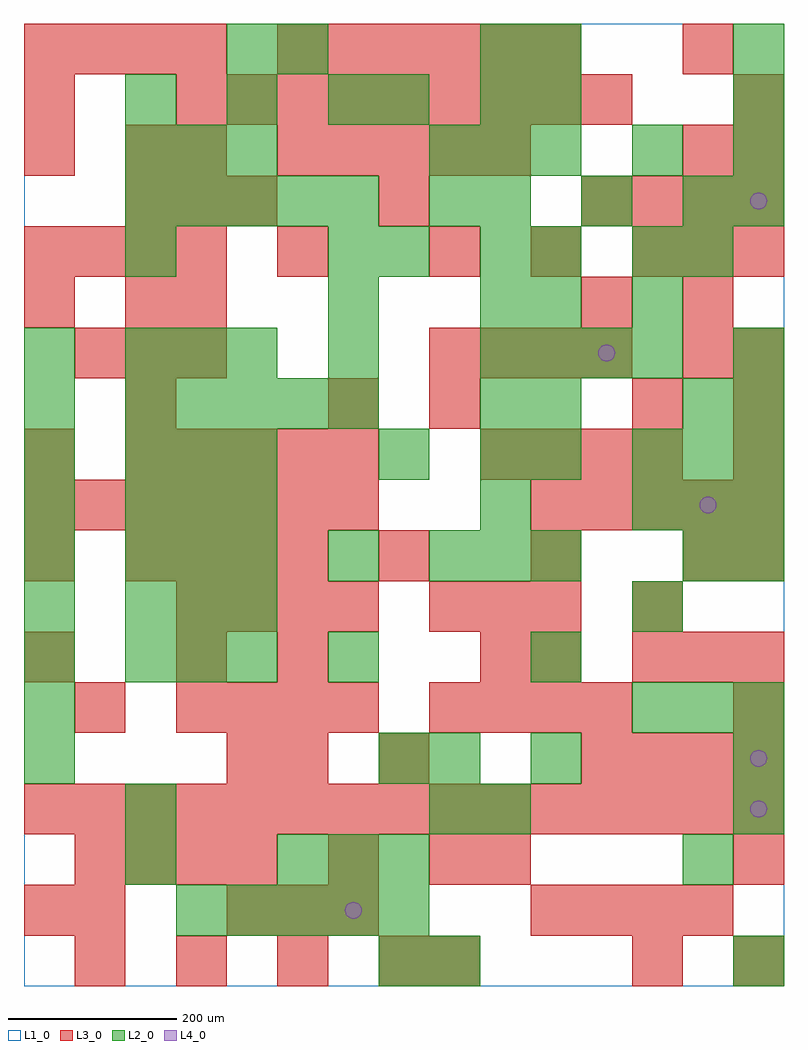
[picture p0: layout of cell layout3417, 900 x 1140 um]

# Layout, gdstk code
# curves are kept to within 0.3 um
import gdstk
lib = gdstk.Library(unit=1e-6, precision=1e-09)
def R(c, l, rs):  # rectangles x0, y0, x1, y1
    for r in rs: c.add(gdstk.rectangle(r[:2], r[2:], *l))
def A(c, l, x, y, w, h, nx, ny, dx, dy):  # array of equal rectangles
    R(c, l, [(x+i*dx, y+j*dy, x+i*dx+w, y+j*dy+h) for i in range(nx) for j in range(ny)])
def P(c, l, *ps):  # polygons
    for p in ps: c.add(gdstk.Polygon(p, *l))
L1_0 = (1, 0)
L2_0 = (2, 0)
L3_0 = (3, 0)
L4_0 = (4, 0)

layout3417 = lib.new_cell('layout3417')
R(layout3417, L1_0, [(0,0,900,1140)])
A(layout3417, L2_0, 180, 60, 60, 60, 5, 1, 60, 0)
A(layout3417, L2_0, 300, 120, 60, 60, 3, 1, 60, 0)
A(layout3417, L2_0, 0, 240, 60, 60, 1, 9, 0, 60)
A(layout3417, L2_0, 720, 300, 60, 60, 3, 2, 60, 240)
A(layout3417, L2_0, 120, 360, 60, 60, 3, 5, 60, 60)
A(layout3417, L2_0, 480, 480, 60, 60, 3, 2, 60, 480)
A(layout3417, L2_0, 780, 480, 60, 60, 1, 3, 0, 180)
A(layout3417, L2_0, 540, 540, 60, 60, 1, 3, 0, 60)
A(layout3417, L2_0, 720, 600, 60, 60, 3, 1, 60, 0)
A(layout3417, L2_0, 120, 660, 60, 60, 5, 2, 60, 240)
A(layout3417, L2_0, 120, 720, 60, 60, 3, 2, 60, 240)
A(layout3417, L2_0, 360, 720, 60, 60, 1, 3, 0, 60)
A(layout3417, L2_0, 540, 720, 60, 60, 4, 1, 60, 0)
A(layout3417, L2_0, 540, 900, 60, 60, 3, 1, 120, 0)
A(layout3417, L2_0, 840, 900, 60, 60, 1, 4, 0, 60)
A(layout3417, L2_0, 120, 1020, 60, 60, 3, 1, 120, 0)
R(layout3417, L2_0, [(420,0,480,60), (480,0,540,60), (840,0,900,60), (120,120,180,180), (780,120,840,180), (120,180,180,240), (480,180,540,240), (540,180,600,240), (840,180,900,240), (420,240,480,300), (480,240,540,300), (600,240,660,300), (840,240,900,300), (360,360,420,420), (600,360,660,420), (720,420,780,480), (360,480,420,540), (840,480,900,540), (420,600,480,660), (600,600,660,660), (600,660,660,720), (840,660,900,720), (840,720,900,780), (540,780,600,840), (600,780,660,840), (720,780,780,840), (120,840,180,900), (420,840,480,900), (540,840,600,900), (600,840,660,900), (720,840,780,900), (480,900,540,960), (720,960,780,1020), (420,1020,480,1080), (540,1020,600,1080), (600,1020,660,1080), (240,1080,300,1140), (300,1080,360,1140), (540,1080,600,1140), (600,1080,660,1140)])
A(layout3417, L3_0, 60, 0, 60, 60, 4, 1, 120, 0)
A(layout3417, L3_0, 240, 60, 60, 60, 3, 1, 60, 0)
A(layout3417, L3_0, 600, 60, 60, 60, 4, 1, 60, 0)
A(layout3417, L3_0, 60, 120, 60, 60, 4, 1, 60, 0)
A(layout3417, L3_0, 840, 120, 60, 60, 1, 3, 0, 180)
A(layout3417, L3_0, 0, 180, 60, 60, 15, 1, 60, 0)
A(layout3417, L3_0, 660, 240, 60, 60, 4, 2, 60, 660)
A(layout3417, L3_0, 180, 300, 60, 60, 4, 2, 60, 120)
A(layout3417, L3_0, 480, 300, 60, 60, 4, 2, 60, 420)
A(layout3417, L3_0, 0, 360, 60, 60, 1, 3, 0, 120)
A(layout3417, L3_0, 720, 360, 60, 60, 3, 1, 60, 0)
A(layout3417, L3_0, 480, 420, 60, 60, 3, 1, 60, 0)
A(layout3417, L3_0, 120, 480, 60, 60, 4, 1, 60, 0)
A(layout3417, L3_0, 420, 480, 60, 60, 3, 1, 180, 0)
A(layout3417, L3_0, 0, 540, 60, 60, 7, 1, 60, 0)
A(layout3417, L3_0, 600, 540, 60, 60, 5, 1, 60, 0)
A(layout3417, L3_0, 120, 600, 60, 60, 5, 1, 60, 0)
A(layout3417, L3_0, 540, 600, 60, 60, 4, 1, 60, 0)
A(layout3417, L3_0, 840, 600, 60, 60, 1, 3, 0, 60)
A(layout3417, L3_0, 60, 720, 60, 60, 3, 1, 60, 0)
A(layout3417, L3_0, 780, 720, 60, 60, 1, 3, 0, 60)
A(layout3417, L3_0, 0, 840, 60, 60, 4, 2, 60, 240)
A(layout3417, L3_0, 480, 840, 60, 60, 3, 1, 120, 0)
A(layout3417, L3_0, 120, 900, 60, 60, 3, 1, 60, 0)
A(layout3417, L3_0, 300, 960, 60, 60, 5, 1, 60, 0)
A(layout3417, L3_0, 180, 1020, 60, 60, 9, 1, 60, 0)
A(layout3417, L3_0, 300, 1080, 60, 60, 6, 1, 60, 0)
R(layout3417, L3_0, [(480,0,540,60), (720,0,780,60), (840,0,900,60), (0,60,60,120), (60,60,120,120), (360,120,420,180), (480,120,540,180), (540,120,600,180), (240,240,300,300), (300,240,360,300), (420,240,480,300), (60,300,120,360), (180,360,240,420), (300,360,360,420), (540,360,600,420), (600,360,660,420), (720,420,780,480), (120,660,180,720), (360,660,420,720), (480,660,540,720), (720,660,780,720), (0,780,60,840), (120,780,180,840), (180,780,240,840), (660,780,720,840), (300,840,360,900), (840,840,900,900), (420,900,480,960), (0,960,60,1020), (120,960,180,1020), (180,960,240,1020), (780,960,840,1020), (840,960,900,1020), (0,1020,60,1080), (840,1020,900,1080), (780,1080,840,1140)])
P(layout3417, L4_0, [(400,90),(399.239,93.827),(397.071,97.071),(393.827,99.239),(390,100),(386.173,99.239),(382.929,97.071),(380.761,93.827),(380,90),(380.761,86.173),(382.929,82.929),(386.173,80.761),(390,80),(393.827,80.761),(397.071,82.929),(399.239,86.173)],
  [(700,750),(699.239,753.827),(697.071,757.071),(693.827,759.239),(690,760),(686.173,759.239),(682.929,757.071),(680.761,753.827),(680,750),(680.761,746.173),(682.929,742.929),(686.173,740.761),(690,740),(693.827,740.761),(697.071,742.929),(699.239,746.173)],
  [(820,570),(819.239,573.827),(817.071,577.071),(813.827,579.239),(810,580),(806.173,579.239),(802.929,577.071),(800.761,573.827),(800,570),(800.761,566.173),(802.929,562.929),(806.173,560.761),(810,560),(813.827,560.761),(817.071,562.929),(819.239,566.173)],
  [(880,210),(879.239,213.827),(877.071,217.071),(873.827,219.239),(870,220),(866.173,219.239),(862.929,217.071),(860.761,213.827),(860,210),(860.761,206.173),(862.929,202.929),(866.173,200.761),(870,200),(873.827,200.761),(877.071,202.929),(879.239,206.173)],
  [(880,270),(879.239,273.827),(877.071,277.071),(873.827,279.239),(870,280),(866.173,279.239),(862.929,277.071),(860.761,273.827),(860,270),(860.761,266.173),(862.929,262.929),(866.173,260.761),(870,260),(873.827,260.761),(877.071,262.929),(879.239,266.173)],
  [(880,930),(879.239,933.827),(877.071,937.071),(873.827,939.239),(870,940),(866.173,939.239),(862.929,937.071),(860.761,933.827),(860,930),(860.761,926.173),(862.929,922.929),(866.173,920.761),(870,920),(873.827,920.761),(877.071,922.929),(879.239,926.173)])

lib.write_gds('layout3417.gds')
